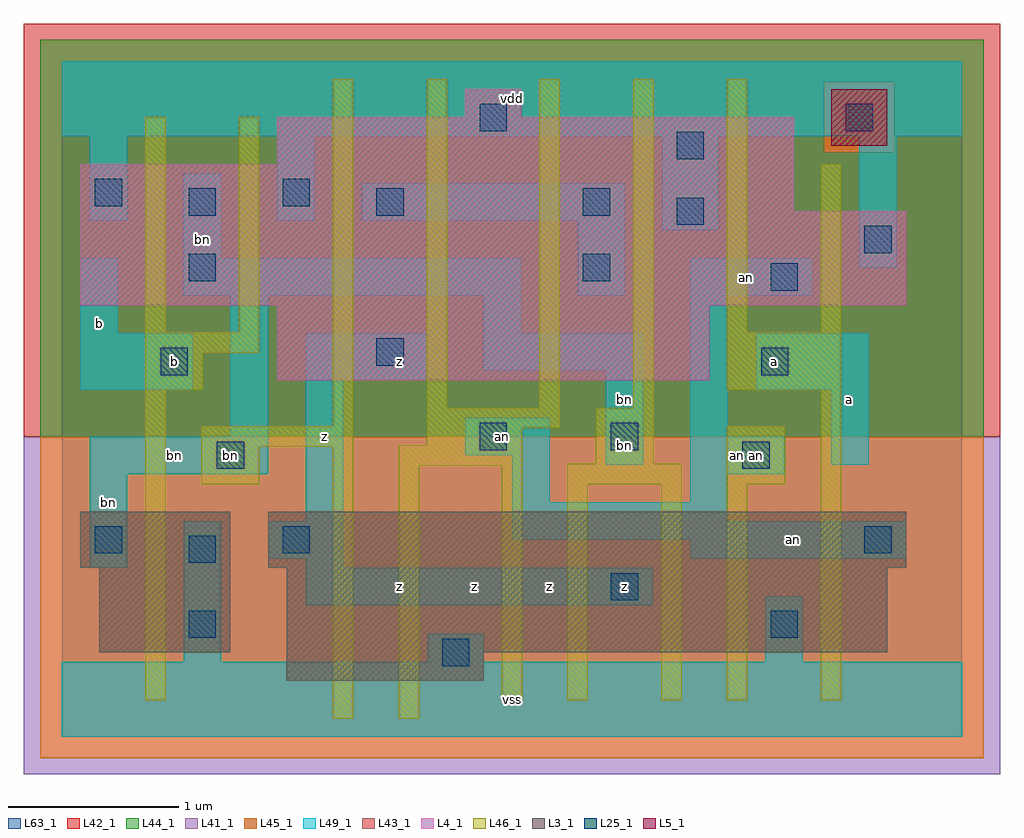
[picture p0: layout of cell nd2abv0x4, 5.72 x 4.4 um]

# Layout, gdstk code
import gdstk
lib = gdstk.Library(unit=1e-6, precision=1e-09)
def R(c, l, rs):  # rectangles x0, y0, x1, y1
    for r in rs: c.add(gdstk.rectangle(r[:2], r[2:], *l))
L3_1 = (3, 1)
L4_1 = (4, 1)
L5_1 = (5, 1)
L25_1 = (25, 1)
L41_1 = (41, 1)
L42_1 = (42, 1)
L43_1 = (43, 1)
L44_1 = (44, 1)
L45_1 = (45, 1)
L46_1 = (46, 1)
L49_1 = (49, 1)
L63_1 = (63, 1)

nd2abv0x4 = lib.new_cell('nd2abv0x4')
R(nd2abv0x4, L3_1, [(1.32,0.33,2.475,0.495), (0.22,0.495,0.99,0.99), (1.32,0.495,4.84,0.99), (0.11,0.99,0.99,1.32), (1.21,0.99,4.95,1.32)])
R(nd2abv0x4, L4_1, [(1.265,2.09,3.795,2.53), (0.11,2.53,4.95,3.08), (0.11,3.08,4.29,3.355), (1.265,3.355,4.29,3.63), (2.365,3.63,2.695,3.795)])
R(nd2abv0x4, L5_1, [(4.51,3.465,4.84,3.795)])
R(nd2abv0x4, L25_1, [(2.23,0.415,2.39,0.575), (0.745,0.58,0.905,0.74), (4.155,0.58,4.315,0.74), (3.22,0.8,3.38,0.96), (0.745,1.02,0.905,1.18), (0.195,1.075,0.355,1.235), (1.295,1.075,1.455,1.235), (4.705,1.075,4.865,1.235), (0.91,1.57,1.07,1.73), (3.99,1.57,4.15,1.73), (2.45,1.68,2.61,1.84), (3.22,1.68,3.38,1.84), (0.58,2.12,0.74,2.28), (4.1,2.12,4.26,2.28), (1.845,2.175,2.005,2.335), (4.155,2.615,4.315,2.775), (0.745,2.67,0.905,2.83), (3.055,2.67,3.215,2.83), (4.705,2.835,4.865,2.995), (3.605,3,3.765,3.16), (0.745,3.055,0.905,3.215), (1.845,3.055,2.005,3.215), (3.055,3.055,3.215,3.215), (0.195,3.11,0.355,3.27), (1.295,3.11,1.455,3.27), (3.605,3.385,3.765,3.545), (2.45,3.55,2.61,3.71), (4.595,3.55,4.755,3.71)])
R(nd2abv0x4, L41_1, [(-0.22,-0.22,5.5,1.76)])
R(nd2abv0x4, L42_1, [(-0.22,1.76,5.5,4.18)])
R(nd2abv0x4, L43_1, [(1.32,0.33,2.475,0.495), (0.22,0.495,0.99,0.99), (1.32,0.495,4.84,0.99), (0.11,0.99,0.99,1.32), (1.21,0.99,4.95,1.32), (1.265,2.09,3.795,2.53), (0.11,2.53,4.95,3.08), (0.11,3.08,4.29,3.355), (1.265,3.355,4.29,3.63), (4.51,3.465,4.84,3.795), (2.365,3.63,2.695,3.795)])
R(nd2abv0x4, L44_1, [(-0.125,1.76,5.405,3.425), (-0.125,3.425,4.47,3.835), (4.88,3.425,5.405,3.835), (-0.125,3.835,5.405,4.085)])
R(nd2abv0x4, L45_1, [(-0.125,-0.125,5.405,1.76), (4.47,3.425,4.88,3.835)])
R(nd2abv0x4, L46_1, [(1.59,0.105,1.71,1.7), (1.975,0.105,2.095,1.59), (0.49,0.215,0.61,2.03), (2.58,0.215,2.7,1.59), (2.965,0.215,3.085,1.48), (3.515,0.215,3.635,1.48), (3.9,0.215,4.02,1.48), (4.45,0.215,4.57,2.03), (0.82,1.48,1.16,1.7), (2.965,1.48,3.635,1.6), (3.9,1.48,4.24,1.82), (1.975,1.59,2.7,1.71), (3.13,1.6,3.47,1.93), (0.82,1.7,1.71,1.82), (2.14,1.71,2.7,1.81), (2.14,1.81,2.92,1.93), (1.59,1.82,1.71,3.855), (2.14,1.93,2.26,3.855), (2.8,1.93,2.92,3.855), (3.35,1.93,3.47,3.855), (0.49,2.03,0.83,2.25), (3.9,2.03,4.57,2.37), (0.49,2.25,1.16,2.37), (0.49,2.37,0.61,3.635), (1.04,2.37,1.16,3.635), (3.9,2.37,4.02,3.855), (4.45,2.37,4.57,3.36)])
R(nd2abv0x4, L49_1, [(0,0,5.28,0.44), (0.715,0.44,0.935,1.265), (2.145,0.44,2.475,0.605), (4.125,0.44,4.345,0.825), (1.43,0.77,3.465,0.99), (0.165,0.99,0.385,1.54), (1.43,0.99,1.65,1.045), (1.21,1.045,1.65,1.265), (3.685,1.045,4.95,1.155), (2.64,1.155,4.95,1.265), (1.43,1.265,1.65,2.09), (2.64,1.265,3.905,1.375), (2.64,1.375,2.86,1.65), (3.685,1.375,3.905,1.54), (0.165,1.54,1.21,1.76), (3.685,1.54,4.235,1.76), (3.19,1.595,3.41,2.145), (4.51,1.595,4.73,2.035), (2.365,1.65,2.86,1.87), (0.99,1.76,1.21,2.585), (3.685,1.76,3.905,2.585), (0.11,2.035,0.77,2.365), (4.07,2.035,4.73,2.365), (1.43,2.09,2.145,2.365), (2.475,2.145,3.41,2.365), (0.11,2.365,0.33,2.805), (2.475,2.365,2.695,2.585), (0.715,2.585,2.695,2.805), (3.025,2.585,3.3,3.025), (3.685,2.585,4.4,2.805), (4.675,2.75,4.895,3.52), (0.715,2.805,0.935,3.3), (3.52,2.97,3.85,3.52), (0.165,3.025,0.385,3.52), (1.265,3.025,1.485,3.52), (1.76,3.025,3.3,3.245), (0,3.52,5.28,3.96)])
R(nd2abv0x4, L63_1, [(0,0,5.28,3.96)])
nd2abv0x4.add(gdstk.Label('bn', (0.99,1.65), layer=49, texttype=1))
nd2abv0x4.add(gdstk.Label('bn', (3.3,1.705), layer=49, texttype=1))
nd2abv0x4.add(gdstk.Label('an', (4.07,1.65), layer=49, texttype=1))
nd2abv0x4.add(gdstk.Label('bn', (0.275,1.375), layer=49, texttype=1))
nd2abv0x4.add(gdstk.Label('b', (0.66,2.2), layer=49, texttype=1))
nd2abv0x4.add(gdstk.Label('b', (0.22,2.42), layer=49, texttype=1))
nd2abv0x4.add(gdstk.Label('bn', (0.825,2.915), layer=49, texttype=1))
nd2abv0x4.add(gdstk.Label('z', (1.54,1.76), layer=49, texttype=1))
nd2abv0x4.add(gdstk.Label('bn', (0.66,1.65), layer=49, texttype=1))
nd2abv0x4.add(gdstk.Label('vss', (2.64,0.22), layer=49, texttype=1))
nd2abv0x4.add(gdstk.Label('z', (2.42,0.88), layer=49, texttype=1))
nd2abv0x4.add(gdstk.Label('z', (2.86,0.88), layer=49, texttype=1))
nd2abv0x4.add(gdstk.Label('z', (1.98,0.88), layer=49, texttype=1))
nd2abv0x4.add(gdstk.Label('an', (2.585,1.76), layer=49, texttype=1))
nd2abv0x4.add(gdstk.Label('z', (1.98,2.2), layer=49, texttype=1))
nd2abv0x4.add(gdstk.Label('vdd', (2.64,3.74), layer=49, texttype=1))
nd2abv0x4.add(gdstk.Label('z', (3.3,0.88), layer=49, texttype=1))
nd2abv0x4.add(gdstk.Label('an', (3.96,1.65), layer=49, texttype=1))
nd2abv0x4.add(gdstk.Label('a', (4.18,2.2), layer=49, texttype=1))
nd2abv0x4.add(gdstk.Label('bn', (3.3,1.98), layer=49, texttype=1))
nd2abv0x4.add(gdstk.Label('an', (4.29,1.155), layer=49, texttype=1))
nd2abv0x4.add(gdstk.Label('a', (4.62,1.98), layer=49, texttype=1))
nd2abv0x4.add(gdstk.Label('an', (4.015,2.695), layer=49, texttype=1))

lib.write_gds('nd2abv0x4.gds')
